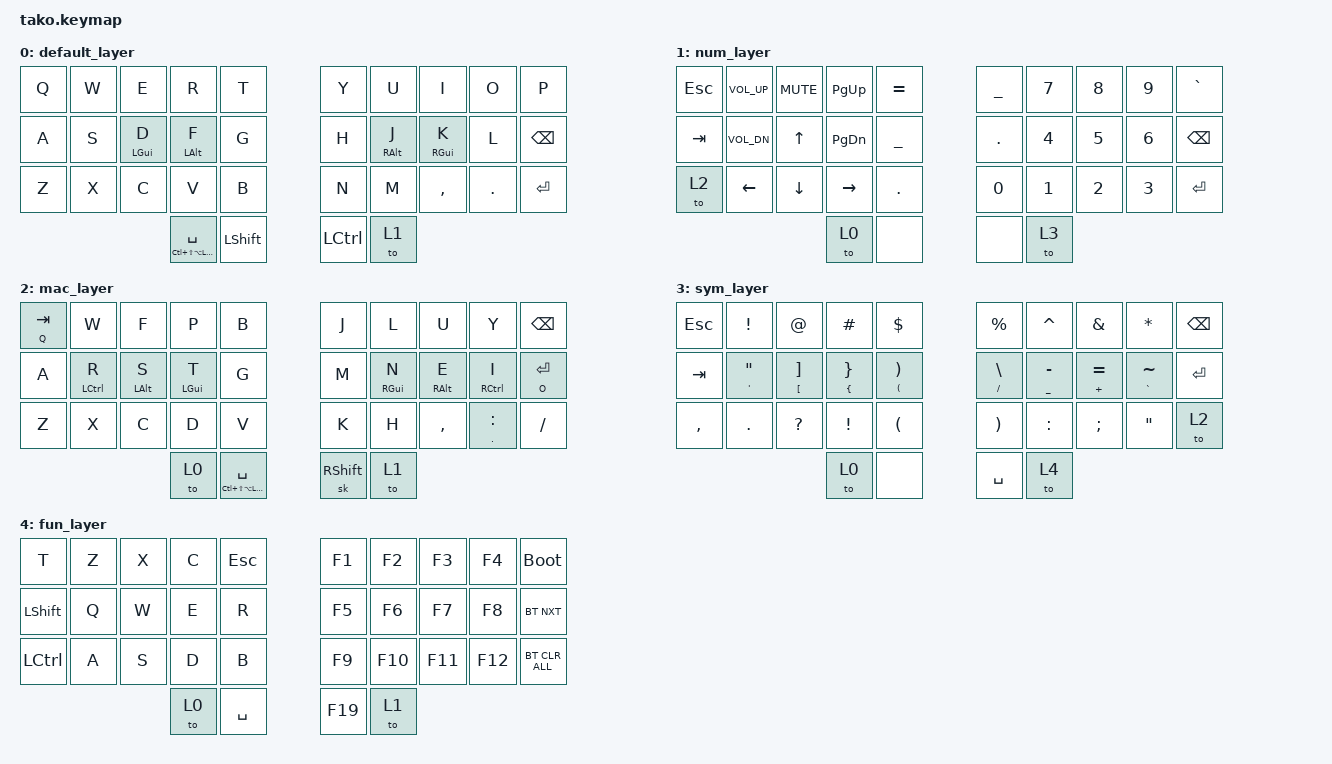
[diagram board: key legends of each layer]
/*
 * Copyright (c) 2020 The ZMK Contributors
 *
 * SPDX-License-Identifier: MIT
 */

#include <behaviors.dtsi>
#include <dt-bindings/zmk/keys.h>
#include <dt-bindings/zmk/bt.h>

#define NUM 1
#define MAC 2
#define SYM 3
#define FUN 4

&mt {
    flavor = "tap-preferred";
    tapping_term_ms = <300>;
};

/ {
    behaviors {
        hm: homerow_mods {
            compatible = "zmk,behavior-hold-tap";
            label = "HOMEROW_MODS";
            #binding-cells = <2>;
            tapping_term_ms = <333>;
            quick-tap-ms = <0>;
            flavor = "tap-preferred";
            bindings = <&kp>, <&kp>;
        };
        td: tapdance {
            compatible = "zmk,behavior-hold-tap";
            label = "TAPDANCE";
            #binding-cells = <2>;
            tapping-term-ms = <150>;
            quick_tap_ms = <0>;
            flavor = "tap-preferred";
            bindings = <&kp>, <&kp>;
        };
    };

    /*
     * combos {
     *     compatible = "zmk,combos";
     *     combo_3 {
     *         timeout-ms = <50>;
     *         key-positions = <32 33>;
     *         bindings = <&to 3>;
     *         layers = <2>;
     *     };
     *     combo_1 {
     *         timeout-ms = <50>;
     *         key-positions = <30 33>;
     *         bindings = <&to 1>;
     *         layers = <2>;
     *     };
     *     combo_ent {
     *         timeout-ms = <50>;
	 *         key-positions = <27 28>;
     *         bindings = <&kp RET>;
     *         layers = <2>;
     *     };
     *     combo_del {
     *         timeout-ms = <50>;
	 *     key-positions = <22 23>;
     *         bindings = <&kp DEL>;
     *         layers = <2>;
     *     };
     * };
     */



    keymap {
        compatible = "zmk,keymap";

        default_layer {
            bindings = <
                //╭──────────┬──────────┬──────────┬──────────┬──────────╮   ╭──────────┬──────────┬──────────┬──────────┬──────────╮
                //│  Q       │  W       │  E       │  R       │  T       │   │  Y       │  U       │  I       │  O       │  P       │
                  &kp Q      &kp W      &kp E      &kp R      &kp T          &kp Y      &kp U      &kp I      &kp O      &kp P
                //├──────────┼──────────┼──────────┼──────────┼──────────┤   ├──────────┼──────────┼──────────┼──────────┼──────────┤
                //│  A       │  S       │  D       │  F       │  G       │   │  H       │  J       │  K       │  L       │ BKSP     │
                  &kp A      &kp S       &hm LGUI D  &hm LALT F &kp G          &kp H      &hm RALT J  &hm RGUI K &kp L     &kp BSPC
                //├──────────┼──────────┼──────────┼──────────┼──────────┤   ├──────────┼──────────┼──────────┼──────────┼──────────┤
                //│  Z       │  X       │  C       │  V       │  B       │   │  N       │  M       │ , <      │ . >      │ ENTER    │
                    &kp Z      &kp X      &kp C      &kp V      &kp B          &kp N      &kp M      &kp COMMA  &kp DOT    &kp ENTER
                //╰──────────┴──────────┴──────────┼──────────┼──────────┤   ├──────────┼──────────┼──────────┴──────────┴──────────╯
                                     &mt LC(LS(LA(LGUI))) SPC  &kp LSHIFT  &kp LEFT_CONTROL   &to 1
                //                                 ╰──────────┴──────────╯   ╰──────────┴──────────╯
            >;
        };

        num_layer {
            bindings = <
                //╭──────────┬──────────┬──────────┬──────────┬──────────╮   ╭──────────┬──────────┬──────────┬──────────┬──────────╮
                //│  ESC     │ VOL_UP   │  MUTE    │ PAGE_UP  │  EQUAL   │   │  UNDER   │    7     │    8     │    9     │   BSPC   │
                  &kp ESC   &kp C_VOL_UP  &kp C_MUTE  &kp PG_UP  &kp EQUAL     &kp UNDER  &kp N7     &kp N8     &kp N9    &kp GRAVE
                //├──────────┼──────────┼──────────┼──────────┼──────────┤   ├──────────┼──────────┼──────────┼──────────┼──────────┤
                //│  TAB     │ VOL_DN   │ UP_ARROW │PAGE_DOWN │  UNDER   │   │   DOT    │    4     │    5     │    6     │  ENTER   │
                &kp TAB   &kp C_VOL_DN  &kp UP_ARROW  &kp PG_DN  &kp UNDER      &kp DOT    &kp N4     &kp N5     &kp N6    &kp BSPC 
                //├──────────┼──────────┼──────────┼──────────┼──────────┤   ├──────────┼──────────┼──────────┼──────────┼──────────┤
                //│  to 2    │LEFT_ARROW│DOWN_ARROW│RIGHT_ARR │   DOT    │   │    0     │    1     │    2     │    3     │   to 2   │
                   &to 2      &kp LEFT   &kp DOWN    &kp RIGHT    &kp DOT        &kp N0     &kp N1     &kp N2     &kp N3     &kp ENTER
                //╰──────────┴──────────┴──────────┼──────────┼──────────┤   ├──────────┼──────────┼──────────┴──────────┴──────────╯
                                                      &to 0      &none       &none         &to 3
                //                                 ╰──────────┴──────────╯   ╰──────────┴──────────╯
            >;
        };

   

        mac_layer {
            bindings = <
                //╭──────────┬──────────┬──────────┬──────────┬──────────╮   ╭──────────┬──────────┬──────────┬──────────┬──────────╮
                //│  Q TAB   │  W       │  F       │  P       │  B       │   │  J       │  L       │  U       │  Y       │  BKSP    │
                  &mt Q TAB    &kp W      &kp F      &kp P      &kp B          &kp J      &kp L      &kp U      &kp Y    &kp BKSP
                //├──────────┼──────────┼──────────┼──────────┼──────────┤   ├──────────┼──────────┼──────────┼──────────┼──────────┤
                //│  A       │  R       │  S       │  T       │  G       │   │  M       │  N       │  E       │  I       │  O       │
                  &kp A      &hm LCTL R   &hm LALT S  &hm LGUI T    &kp G       &kp M     &hm RGUI N &hm RALT E &hm RCTL I    &mt O ENTER
                //├──────────┼──────────┼──────────┼──────────┼──────────┤   ├──────────┼──────────┼──────────┼──────────┼──────────┤
                //│  Z       │  X       │  C       │  D       │  V       │   │  K       │  H       │ , <      │ . >   :  │ /        │
                 &kp Z  &kp X      &kp C      &kp D      &kp V           &kp K      &kp H    &kp COMMA &td DOT COLON  &kp FSLH
                //╰──────────┴──────────┴──────────┼──────────┼──────────┤   ├──────────┼──────────┼──────────┴──────────┴──────────╯
                                          &to 0  &mt LC(LS(LA(LGUI))) SPC     &sk RSHIFT  &to 1
                //                                 ╰──────────┴──────────╯   ╰──────────┴──────────╯                   
            >;
        };

        sym_layer {
            bindings = <
                //╭──────────┬──────────┬──────────┬──────────┬──────────╮   ╭──────────┬──────────┬──────────┬──────────┬──────────╮
                //│  ESC     │      !   │    @     │     #    │    $     │   │     %    │      ^   │      &   │    *     │  BKSP    │
                  &kp ESC    &kp EXCL   &kp AT     &kp HASH   &kp DLLR       &kp PRCNT  &kp CARET  &kp AMPS   &kp ASTRK  &kp BSPC
                //├──────────┼──────────┼──────────┼──────────┼──────────┤   ├──────────┼──────────┼──────────┼──────────┼──────────┤
                //│  TAB   │  ' "     │  [ ]     │  { }     │  ( )     │   │  / \     │  _ -     │  + =     │  ` ~     │  ENTER   │
                  &kp TAB &td SQT DQT &td LBKT RBKT &td LBRC RBRC &td LPAR RPAR &td FSLH BSLH &td UNDER MINUS &td PLUS EQUAL &td GRAVE TILDE &kp ENTER
                //├──────────┼──────────┼──────────┼──────────┼──────────┤   ├──────────┼──────────┼──────────┼──────────┼──────────┤
                //│    ,     │   .      │    ?     │    !     │    (     │   │     )    │    :     │    ;     │   "      │   to 2│
                  &kp COMMA  &kp DOT    &kp QMARK   &kp EXCL  &kp LPAR      &kp RPAR   &kp COLON    &kp SEMI    &kp DQT     &to 2
                //╰──────────┴──────────┴──────────┼──────────┼──────────┤   ├──────────┼──────────┼──────────┴──────────┴──────────╯
                                                    &to 0      &none          &kp SPC    &to 4
                //                                 ╰──────────┴──────────╯   ╰──────────┴──────────╯
            >;
        };

        fun_layer {
            bindings = <
                //╭──────────┬──────────┬──────────┬──────────┬──────────╮   ╭──────────┬──────────┬──────────┬──────────┬──────────╮
                //│  daoju   │  Tran1   │  Tran2   │ Tran3    │ ESC      │   │   F1     │   F2     │   F3     │   F4     │ Bootloader│
                  &kp T       &kp Z      &kp X     &kp C      &kp ESC      &kp F1     &kp F2     &kp F3     &kp F4   &bootloader
                //├──────────┼──────────┼──────────┼──────────┼──────────┤   ├──────────┼──────────┼──────────┼──────────┼──────────┤
                //│ LSHIFT   │  Q()     │  W ()    │    E ()  │ Reloading│   │   F5     │   F6     │   F7     │   F8     │  BT_NEXT │
                  &kp LSHIFT    &kp Q     &kp W      &kp E       &kp R        &kp F5     &kp F6     &kp F7     &kp F8        &bt BT_NXT
                //├──────────┼──────────┼──────────┼──────────┼──────────┤   ├──────────┼──────────┼──────────┼──────────┼──────────┤
                //│ LCONTROL │   A      │    S     │     D    │    B     │   │   F9     │  F10     │  F11     │  F12     │BT_CLEAR_ALL│
                  &kp LCTL     &kp A      &kp S      &kp D        &kp B      &kp F9     &kp F10    &kp F11    &kp F12   &bt BT_CLR_ALL
                //╰──────────┴──────────┴──────────┼──────────┼──────────┤   ├──────────┼──────────┼──────────┴──────────┴──────────╯
                                                   &to 0     &kp SPC       &kp F19       &to 1
                //                                 ╰──────────┴──────────╯   ╰──────────┴──────────╯
            >;
        };
    };
};
